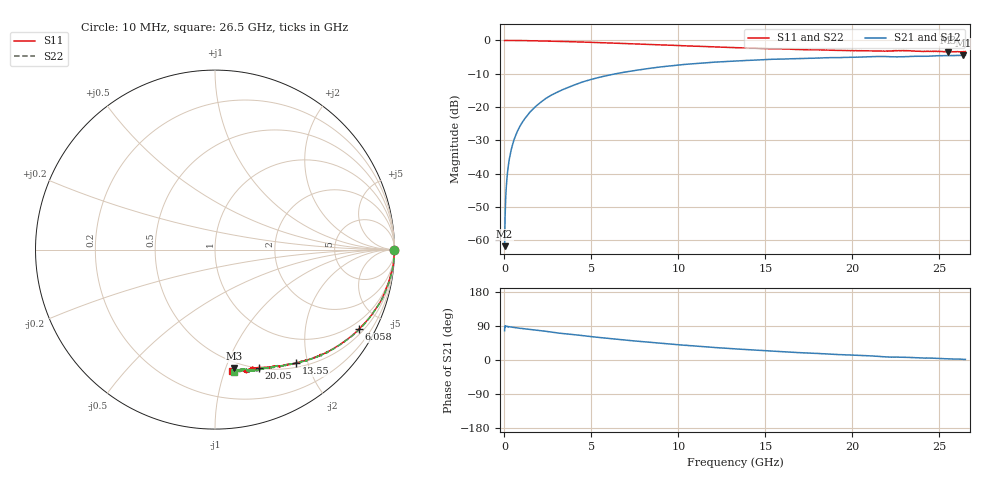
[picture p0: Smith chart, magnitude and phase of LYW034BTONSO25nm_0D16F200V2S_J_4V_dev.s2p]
!Keysight Technologies,N5222B,MY61253708,A.15.00.15
!Date: Wednesday, June 19, 2024 08:38:08
!Correction: S11(C  2-Port  )
!S21(C  2-Port  )
!S12(C  2-Port  )
!S22(C  2-Port  )
!S2P File: Measurements: S11, S21, S12, S22:
# Hz S  RI  R 50
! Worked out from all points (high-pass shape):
!   2651 points, 10 MHz to 26.5 GHz, reference 50 ohm
!   highest |S21| = -4.41 dB at 26.38 GHz (marker M1); lowest = -61.8 dB at 10 MHz (marker M2)
!   |S21| within 3 dB of the highest: 9.927 GHz to end of sweep
!   lowest |S11| = -3.5 dB at 25.49 GHz (marker M3), VSWR 5.06, Z = 22.3 - j53.5 ohm
!   |S11| at or under -10 dB: nowhere
!   |S22| runs from -3.3 to 0.0 dB; largest |S21 - S12| = 0.011
!   S11 on the Smith chart (normalised r, x): 10 MHz: open; 6.058 GHz: 0.68, -3.75; 13.55 GHz: 0.57, -1.80; 20.05 GHz: 0.50, -1.31; 26.5 GHz: 0.42, -1.05
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1e7  0.9986 -0.00237  0.000181 0.000795  2.07e-05 0.000622  0.9988 -0.00162
6.997736e7  1 -0.00688  0.000114 0.00413  4.17e-05 0.00406  0.9996 -0.00645
1.599434e8  0.9995 -0.0157  0.000254 0.00945  0.000234 0.0093  0.9993 -0.0147
2.099245e8  0.9993 -0.02  0.000391 0.0124  0.000386 0.0122  0.9991 -0.0191
2.699019e8  0.9992 -0.0257  0.000571 0.0159  0.000585 0.0156  0.9993 -0.0245
3.698642e8  0.9985 -0.0353  0.00113 0.0217  0.00106 0.0214  0.9986 -0.034
4.998151e8  0.9974 -0.0468  0.00193 0.0291  0.00187 0.0287  0.9978 -0.0452
8.596792e8  0.9942 -0.0794  0.00529 0.0495  0.00506 0.0489  0.994 -0.0781
1.459453e9  0.9803 -0.134  0.0132 0.0825  0.0128 0.0814  0.9836 -0.1285
2.319128e9  0.9591 -0.203  0.0315 0.1273  0.0309 0.126  0.9615 -0.2017
3.208792e9  0.931 -0.272  0.0586 0.1657  0.0573 0.1644  0.9331 -0.269
4.428332e9  0.8792 -0.3546  0.1002 0.2125  0.0983 0.2114  0.8834 -0.3498
6.057717e9  0.8016 -0.4443  0.167 0.2532  0.1651 0.2523  0.8082 -0.4413
8.846664e9  0.6616 -0.5503  0.281 0.2797  0.2787 0.2796  0.6677 -0.548
1.3255e10  0.4638 -0.6279  0.4278 0.2414  0.4265 0.242  0.4712 -0.6278
1.355489e10  0.4509 -0.6312  0.4347 0.2365  0.434 0.2375  0.4576 -0.6319
1.767333e10  0.306 -0.6562  0.5145 0.166  0.5146 0.1657  0.3204 -0.6574
2.005243e10  0.2447 -0.6615  0.5458 0.1251  0.5452 0.1239  0.2598 -0.6648
2.209166e10  0.2011 -0.6605  0.5657 0.0783  0.5648 0.0778  0.1974 -0.67
2.549038e10  0.1064 -0.6615  0.5921 0.0306  0.591 0.0336  0.1273 -0.673
2.638005e10  0.0951 -0.6731  0.6014 0.0177  0.5947 0.0211  0.1038 -0.6805
2.65e10  0.092 -0.6754  0.6012 0.0173  0.5984 0.0168  0.1035 -0.6802
